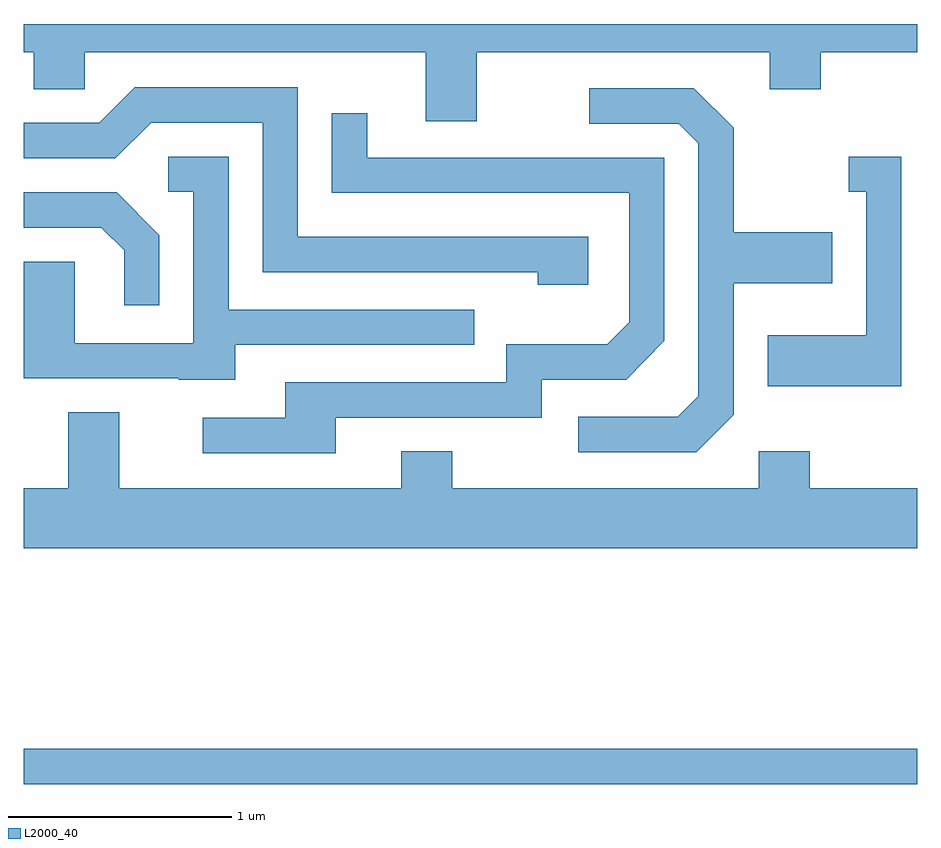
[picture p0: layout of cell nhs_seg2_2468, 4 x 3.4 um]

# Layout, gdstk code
import gdstk
lib = gdstk.Library(unit=1e-6, precision=1e-09)
def R(c, l, rs):  # rectangles x0, y0, x1, y1
    for r in rs: c.add(gdstk.rectangle(r[:2], r[2:], *l))
def P(c, l, *ps):  # polygons
    for p in ps: c.add(gdstk.Polygon(p, *l))
L2000_40 = (2000, 40)

nhs_seg2_2468 = lib.new_cell('nhs_seg2_2468')
R(nhs_seg2_2468, L2000_40, [(257.611,1018.401,261.611,1018.559)])
P(nhs_seg2_2468, L2000_40, [(257.611,1021.676),(257.656,1021.676),(257.656,1021.511),(257.884,1021.511),(257.884,1021.676),(259.411,1021.676),(259.411,1021.366),(259.639,1021.366),(259.639,1021.676),(260.951,1021.676),(260.951,1021.511),(261.179,1021.511),(261.179,1021.676),(261.611,1021.676),(261.611,1021.802),(257.611,1021.802)],
  [(260.139,1020.849),(258.839,1020.849),(258.839,1021.519),(258.109,1021.519),(257.949,1021.359),(257.611,1021.359),(257.611,1021.201),(258.022,1021.201),(258.182,1021.361),(258.681,1021.361),(258.681,1020.691),(259.911,1020.691),(259.911,1020.636),(260.139,1020.636)],
  [(260.748,1020.013),(260.789,1020.054),(260.789,1020.641),(261.229,1020.641),(261.229,1020.869),(260.789,1020.869),(260.789,1021.337),(260.611,1021.514),(260.142,1021.514),(260.142,1021.356),(260.544,1021.356),(260.631,1021.269),(260.631,1020.137),(260.539,1020.044),(260.093,1020.044),(260.093,1019.886),(260.622,1019.886)],
  [(259.009,1020.041),(259.929,1020.041),(259.929,1020.211),(260.307,1020.211),(260.479,1020.384),(260.479,1021.204),(259.149,1021.204),(259.149,1021.403),(258.991,1021.403),(258.991,1021.046),(260.321,1021.046),(260.321,1020.467),(260.224,1020.369),(259.771,1020.369),(259.771,1020.199),(258.781,1020.199),(258.781,1020.039),(258.413,1020.039),(258.413,1019.881),(259.009,1019.881)],
  [(261.539,1021.209),(261.303,1021.209),(261.303,1021.051),(261.381,1021.051),(261.381,1020.409),(260.941,1020.409),(260.941,1020.181),(261.539,1020.181)],
  [(258.559,1020.366),(259.628,1020.366),(259.628,1020.524),(258.529,1020.524),(258.529,1021.209),(258.258,1021.209),(258.258,1021.051),(258.371,1021.051),(258.371,1020.374),(257.839,1020.374),(257.839,1020.739),(257.611,1020.739),(257.611,1020.216),(258.305,1020.216),(258.305,1020.211),(258.559,1020.211)],
  [(258.219,1020.857),(258.027,1021.049),(257.611,1021.049),(257.611,1020.891),(257.959,1020.891),(258.061,1020.789),(258.061,1020.543),(258.219,1020.543)],
  [(261.611,1019.724),(261.129,1019.724),(261.129,1019.889),(260.901,1019.889),(260.901,1019.724),(259.529,1019.724),(259.529,1019.889),(259.301,1019.889),(259.301,1019.724),(258.039,1019.724),(258.039,1020.064),(257.811,1020.064),(257.811,1019.724),(257.611,1019.724),(257.611,1019.456),(261.611,1019.456)])

lib.write_gds('nhs_seg2_2468.gds')
